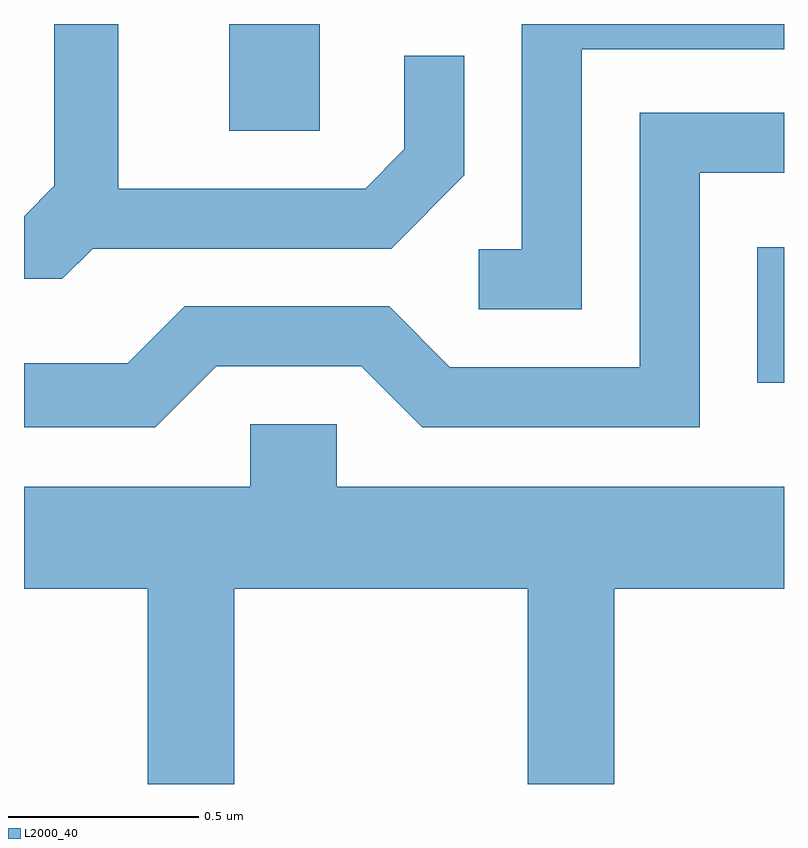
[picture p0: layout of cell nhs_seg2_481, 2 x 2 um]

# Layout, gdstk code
import gdstk
lib = gdstk.Library(unit=1e-6, precision=1e-09)
def R(c, l, rs):  # rectangles x0, y0, x1, y1
    for r in rs: c.add(gdstk.rectangle(r[:2], r[2:], *l))
def P(c, l, *ps):  # polygons
    for p in ps: c.add(gdstk.Polygon(p, *l))
L2000_40 = (2000, 40)

nhs_seg2_481 = lib.new_cell('nhs_seg2_481')
R(nhs_seg2_481, L2000_40, [(190.541,1048.858,190.611,1049.214), (189.151,1049.521,189.389,1049.802)])
P(nhs_seg2_481, L2000_40, [(190.079,1049.736),(190.611,1049.736),(190.611,1049.802),(189.921,1049.802),(189.921,1049.209),(189.808,1049.209),(189.808,1049.051),(190.079,1049.051)],
  [(188.792,1049.211),(189.577,1049.211),(189.769,1049.404),(189.769,1049.718),(189.611,1049.718),(189.611,1049.472),(189.509,1049.369),(188.859,1049.369),(188.859,1049.802),(188.691,1049.802),(188.691,1049.377),(188.611,1049.296),(188.611,1049.131),(188.712,1049.131)],
  [(189.117,1048.901),(189.499,1048.901),(189.659,1048.741),(190.389,1048.741),(190.389,1049.411),(190.611,1049.411),(190.611,1049.569),(190.231,1049.569),(190.231,1048.899),(189.732,1048.899),(189.572,1049.059),(189.034,1049.059),(188.884,1048.909),(188.611,1048.909),(188.611,1048.741),(188.957,1048.741)],
  [(189.164,1048.316),(189.936,1048.316),(189.936,1047.802),(190.164,1047.802),(190.164,1048.316),(190.611,1048.316),(190.611,1048.584),(189.434,1048.584),(189.434,1048.749),(189.206,1048.749),(189.206,1048.584),(188.611,1048.584),(188.611,1048.316),(188.936,1048.316),(188.936,1047.802),(189.164,1047.802)])

lib.write_gds('nhs_seg2_481.gds')
